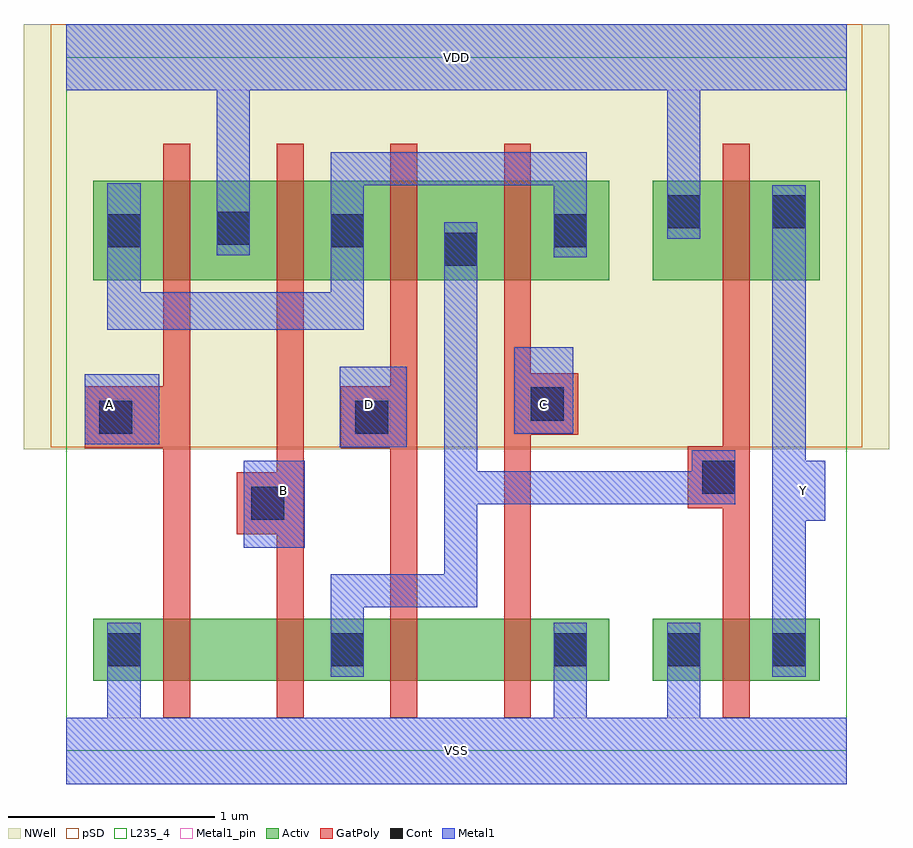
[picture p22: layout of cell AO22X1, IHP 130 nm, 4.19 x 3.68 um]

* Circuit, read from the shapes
.subckt AO22X1 A B C D VDD VSS Y
XM1 n1 A VSS VSUBS sg13_lv_nmos w=0.3u l=0.13u
XM2 n2 B n1 VSUBS sg13_lv_nmos w=0.3u l=0.13u
XM3 n3 D n2 VSUBS sg13_lv_nmos w=0.3u l=0.13u
XM4 VSS C n3 VSUBS sg13_lv_nmos w=0.3u l=0.13u
XM5 Y n2 VSS VSUBS sg13_lv_nmos w=0.3u l=0.13u
XM6 VDD A n4 n5 sg13_lv_pmos w=0.48u l=0.13u
XM7 n4 B VDD n5 sg13_lv_pmos w=0.48u l=0.13u
XM8 n2 D n4 n5 sg13_lv_pmos w=0.48u l=0.13u
XM9 n4 C n2 n5 sg13_lv_pmos w=0.48u l=0.13u
XM10 Y n2 VDD n5 sg13_lv_pmos w=0.48u l=0.13u
.ends

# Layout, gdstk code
import gdstk
lib = gdstk.Library(unit=1e-6, precision=1e-09)
def R(c, l, rs):  # rectangles x0, y0, x1, y1
    for r in rs: c.add(gdstk.rectangle(r[:2], r[2:], *l))
def A(c, l, x, y, w, h, nx, ny, dx, dy):  # array of equal rectangles
    R(c, l, [(x+i*dx, y+j*dy, x+i*dx+w, y+j*dy+h) for i in range(nx) for j in range(ny)])
Activ = (1, 0)
GatPoly = (5, 0)
Cont = (6, 0)
Metal1 = (8, 0)
Metal1_pin = (8, 2)
pSD = (14, 0)
NWell = (31, 0)
L235_4 = (235, 4)

ao22x1 = lib.new_cell('AO22X1')
R(ao22x1, Activ, [(0.13,0.34,1.02,0.64), (1.02,0.34,1.57,0.64), (1.57,0.34,2.12,0.64), (2.12,0.34,2.63,0.64), (2.84,0.34,3.65,0.64), (0.13,2.28,1.02,2.76), (1.02,2.28,1.57,2.76), (1.57,2.28,2.12,2.76), (2.12,2.28,2.63,2.76), (2.84,2.28,3.65,2.76)])
A(ao22x1, GatPoly, 0.47, 0.16, 0.13, 2.78, 4, 1, 0.55, 0)
R(ao22x1, GatPoly, [(3.18,0.16,3.31,0.82), (3.18,0.82,3.31,2.94), (0.825,1.05,1.02,1.35), (3.01,1.175,3.18,1.475), (0.09,1.465,0.47,1.765), (1.33,1.465,1.57,1.765), (2.25,1.53,2.48,1.83)])
A(ao22x1, Cont, 0.2, 0.41, 0.16, 0.16, 3, 2, 1.08, 2.03)
R(ao22x1, Cont, [(2.91,0.41,3.07,0.57), (3.42,0.41,3.58,0.57), (0.895,1.12,1.055,1.28), (3.08,1.245,3.24,1.405), (0.16,1.535,0.32,1.695), (1.4,1.535,1.56,1.695), (2.25,1.6,2.41,1.76), (1.83,2.35,1.99,2.51), (0.73,2.45,0.89,2.61), (2.91,2.53,3.07,2.69), (3.42,2.53,3.58,2.69)])
R(ao22x1, Metal1, [(0,-0.16,3.78,0.16), (0.2,0.16,0.36,0.62), (2.36,0.16,2.52,0.62), (2.91,0.16,3.07,0.62), (1.28,0.36,1.44,0.855), (3.42,0.36,3.58,0.62), (3.42,0.62,3.58,2.74), (1.44,0.695,1.83,0.855), (1.83,0.695,1.99,2.56), (0.86,0.985,1.155,1.405), (3.58,1.115,3.675,1.405), (1.99,1.195,3.24,1.355), (3.03,1.355,3.24,1.455), (1.325,1.47,1.65,1.86), (0.09,1.485,0.45,1.825), (2.17,1.535,2.455,1.955), (0.2,2.04,1.44,2.22), (0.2,2.04,0.36,2.75), (1.28,2.04,1.44,2.9), (2.36,2.39,2.52,2.9), (0.73,2.4,0.89,3.2), (2.91,2.48,3.07,3.2), (1.44,2.74,2.36,2.9), (0,3.2,3.78,3.52)])
R(ao22x1, Metal1_pin, [(0,-0.16,3.78,0.16), (3.42,0.36,3.58,1.115), (0.86,0.985,1.155,1.405), (3.42,1.115,3.675,1.405), (3.42,1.405,3.58,2.74), (1.325,1.47,1.65,1.86), (0.09,1.485,0.45,1.825), (2.17,1.535,2.455,1.955), (0,3.2,3.78,3.52)])
R(ao22x1, pSD, [(-0.075,1.47,3.855,3.52)])
R(ao22x1, NWell, [(-0.205,1.46,3.985,3.52)])
R(ao22x1, L235_4, [(0,0,3.78,3.36)])
ao22x1.add(gdstk.Label('A', (0.21,1.68), layer=8, texttype=25))
ao22x1.add(gdstk.Label('VSS', (1.89,0), layer=8, texttype=25))
ao22x1.add(gdstk.Label('Y', (3.57,1.26), layer=8, texttype=25))
ao22x1.add(gdstk.Label('VDD', (1.89,3.36), layer=8, texttype=25))
ao22x1.add(gdstk.Label('D', (1.47,1.68), layer=8, texttype=25))
ao22x1.add(gdstk.Label('B', (1.05,1.26), layer=8, texttype=25))
ao22x1.add(gdstk.Label('C', (2.31,1.68), layer=8, texttype=25))

lib.write_gds('AO22X1.gds')
